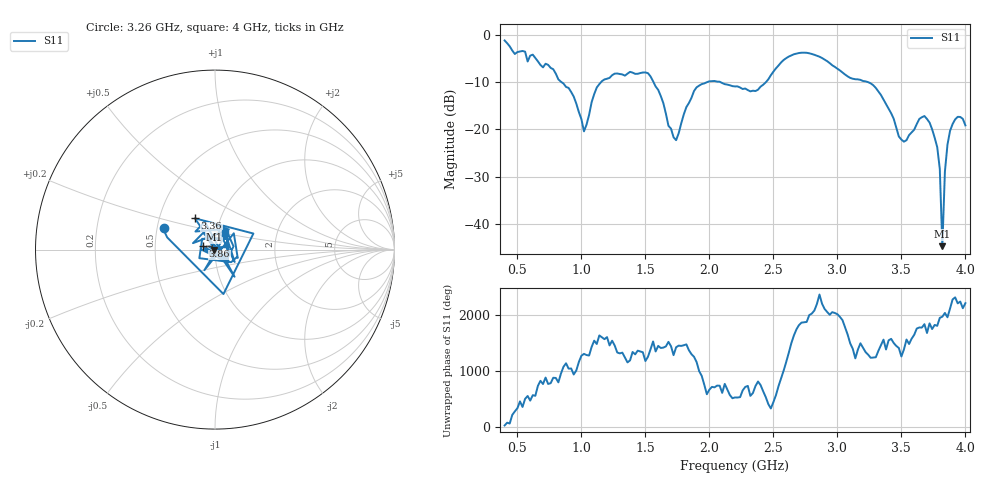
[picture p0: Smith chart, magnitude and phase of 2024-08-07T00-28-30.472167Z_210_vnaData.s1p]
!Created with skrf (http://scikit-rf.org).
# Hz S RI R 50.0
!freq ReS11 ImS11
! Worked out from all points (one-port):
!   181 points, 400 MHz to 4 GHz, reference 50 ohm
!   lowest |S11| = -44.7 dB at 3.82 GHz (marker M1), VSWR 1.01, Z = 49.4 + j0.0411 ohm
!   |S11| at or under -10 dB: 1.563 GHz to 1.981 GHz (418 MHz wide, 23.6 % of centre); 2.087 GHz to 2.441 GHz (354.4 MHz wide, 15.7 % of centre); 3.24 GHz to end of sweep (the widest 3 of 4)
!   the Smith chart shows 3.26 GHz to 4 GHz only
!   S11 on the Smith chart (normalised r, x): 3.26 GHz: 0.55, +0.15; 3.36 GHz: 0.75, +0.28; 3.86 GHz: 0.87, +0.03; 4 GHz: 1.10, +0.21
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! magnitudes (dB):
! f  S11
! 400 MHz  -1.2
! 860 MHz  -10.3
! 940 MHz  -13.0
! 1.02 GHz  -20.4
! 1.12 GHz  -11.1
! 1.3 GHz  -8.3
! 1.52 GHz  -8.1
! 1.62 GHz  -12.9
! 1.72 GHz  -21.6
! 1.76 GHz  -20.8
! 1.9 GHz  -11.1
! 2.2 GHz  -10.9
! 2.38 GHz  -11.6
! 2.66 GHz  -4.1
! 2.86 GHz  -4.6
! 3.1 GHz  -9.1
! 3.26 GHz  -10.3
! 3.36 GHz  -13.7
! 3.48 GHz  -21.5
! 3.56 GHz  -21.2
! 3.68 GHz  -17.2
! 3.76 GHz  -21.7
! 3.8 GHz  -28.3
! 3.82 GHz  -44.7
! 3.84 GHz  -28.9
! 3.86 GHz  -23.2
! 3.92 GHz  -17.9
! 4 GHz  -19.1
